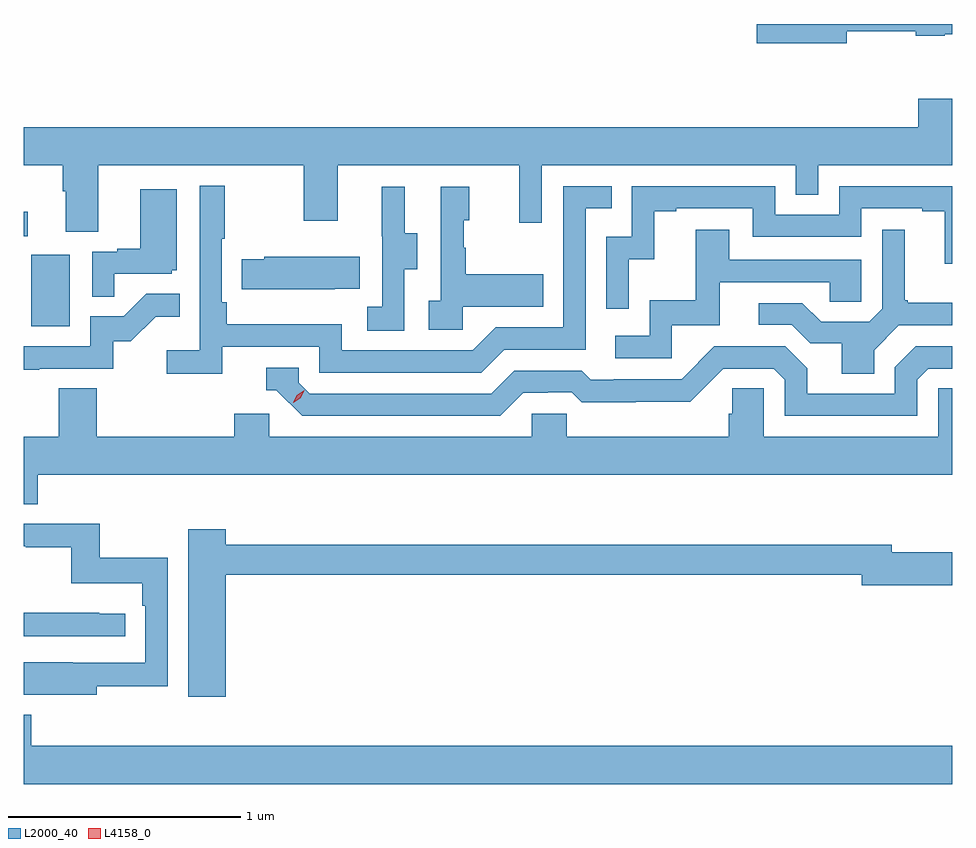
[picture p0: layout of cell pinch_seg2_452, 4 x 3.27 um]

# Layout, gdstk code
import gdstk
lib = gdstk.Library(unit=1e-6, precision=1e-09)
def R(c, l, rs):  # rectangles x0, y0, x1, y1
    for r in rs: c.add(gdstk.rectangle(r[:2], r[2:], *l))
def P(c, l, *ps):  # polygons
    for p in ps: c.add(gdstk.Polygon(p, *l))
L2000_40 = (2000, 40)
L4158_0 = (4158, 0)

pinch_seg2_452 = lib.new_cell('pinch_seg2_452')
R(pinch_seg2_452, L2000_40, [(912.794,589.668,912.958,589.975), (912.76,590.055,912.778,590.161)])
P(pinch_seg2_452, L2000_40, [(916.306,590.937),(916.603,590.937),(916.603,590.918),(916.728,590.918),(916.728,590.924),(916.76,590.924),(916.76,590.969),(915.918,590.969),(915.918,590.887),(916.306,590.887)],
  [(913.081,590.36),(913.966,590.36),(913.966,590.121),(914.113,590.121),(914.113,590.36),(914.894,590.36),(914.894,590.112),(914.991,590.112),(914.991,590.36),(916.086,590.36),(916.086,590.233),(916.182,590.233),(916.182,590.36),(916.76,590.36),(916.76,590.648),(916.613,590.648),(916.613,590.524),(912.76,590.524),(912.76,590.36),(912.929,590.36),(912.929,590.248),(912.941,590.248),(912.941,590.074),(913.081,590.074)],
  [(913.616,589.578),(914.034,589.578),(914.034,589.467),(914.731,589.467),(914.83,589.566),(915.18,589.566),(915.18,590.175),(915.293,590.175),(915.293,590.271),(915.084,590.271),(915.084,589.662),(914.793,589.662),(914.694,589.563),(914.13,589.563),(914.13,589.675),(913.634,589.675),(913.634,589.771),(913.614,589.771),(913.614,590.044),(913.627,590.044),(913.627,590.272),(913.518,590.272),(913.518,589.564),(913.377,589.564),(913.377,589.462),(913.616,589.462)],
  [(915.366,589.955),(915.476,589.955),(915.476,590.163),(915.571,590.163),(915.571,590.175),(915.9,590.175),(915.9,590.052),(916.368,590.052),(916.368,590.175),(916.631,590.175),(916.631,590.163),(916.727,590.163),(916.727,589.937),(916.76,589.937),(916.76,590.271),(916.272,590.271),(916.272,590.148),(915.996,590.148),(915.996,590.271),(915.378,590.271),(915.378,590.052),(915.27,590.052),(915.27,589.743),(915.366,589.743)],
  [(914.4,589.912),(914.455,589.912),(914.455,590.067),(914.401,590.067),(914.401,590.269),(914.303,590.269),(914.303,590.055),(914.304,590.055),(914.304,589.751),(914.241,589.751),(914.241,589.648),(914.4,589.648)],
  [(914.652,589.751),(914.999,589.751),(914.999,589.891),(914.665,589.891),(914.665,590.006),(914.655,590.006),(914.655,590.124),(914.68,590.124),(914.68,590.269),(914.556,590.269),(914.556,589.778),(914.505,589.778),(914.505,589.653),(914.652,589.653)],
  [(913.151,589.893),(913.398,589.893),(913.398,589.908),(913.42,589.908),(913.42,590.257),(913.262,590.257),(913.262,590.002),(913.163,590.002),(913.163,589.989),(913.056,589.989),(913.056,589.795),(913.151,589.795)],
  [(916.423,589.564),(916.53,589.671),(916.76,589.671),(916.76,589.768),(916.567,589.768),(916.567,589.78),(916.555,589.78),(916.555,590.083),(916.458,590.083),(916.458,589.743),(916.401,589.686),(916.195,589.686),(916.114,589.767),(915.927,589.767),(915.927,589.674),(916.068,589.674),(916.148,589.594),(916.283,589.594),(916.283,589.462),(916.423,589.462)],
  [(915.552,589.671),(915.757,589.671),(915.757,589.857),(916.231,589.857),(916.231,589.773),(916.368,589.773),(916.368,589.953),(915.799,589.953),(915.799,590.083),(915.655,590.083),(915.655,589.78),(915.456,589.78),(915.456,589.626),(915.309,589.626),(915.309,589.53),(915.552,589.53)],
  [(914.099,589.829),(914.207,589.829),(914.207,589.966),(913.797,589.966),(913.797,589.956),(913.699,589.956),(913.699,589.826),(914.099,589.826)],
  [(912.827,589.485),(913.146,589.485),(913.146,589.602),(913.222,589.602),(913.329,589.709),(913.433,589.709),(913.433,589.808),(913.289,589.808),(913.191,589.71),(913.047,589.71),(913.047,589.581),(912.76,589.581),(912.76,589.48),(912.827,589.48)],
  [(914.911,589.38),(915.018,589.38),(915.018,589.383),(915.121,589.383),(915.163,589.341),(915.396,589.341),(915.396,589.343),(915.632,589.343),(915.774,589.485),(915.99,589.485),(916.038,589.437),(916.038,589.281),(916.608,589.281),(916.608,589.437),(916.656,589.485),(916.76,589.485),(916.76,589.581),(916.602,589.581),(916.512,589.491),(916.512,589.377),(916.135,589.377),(916.135,589.487),(916.041,589.581),(915.735,589.581),(915.594,589.44),(915.301,589.44),(915.301,589.437),(915.202,589.437),(915.163,589.476),(914.874,589.476),(914.775,589.377),(913.992,589.377),(913.944,589.425),(913.944,589.488),(913.805,589.488),(913.805,589.392),(913.848,589.392),(913.959,589.281),(914.812,589.281)],
  [(912.821,589.028),(916.76,589.028),(916.76,589.4),(916.698,589.4),(916.698,589.192),(915.948,589.192),(915.948,589.4),(915.811,589.4),(915.811,589.29),(915.797,589.29),(915.797,589.192),(915.099,589.192),(915.099,589.29),(914.949,589.29),(914.949,589.192),(913.818,589.192),(913.818,589.29),(913.667,589.29),(913.667,589.192),(913.076,589.192),(913.076,589.4),(912.911,589.4),(912.911,589.192),(912.76,589.192),(912.76,588.901),(912.821,588.901)],
  [(913.075,588.118),(913.38,588.118),(913.38,588.67),(913.087,588.67),(913.087,588.816),(912.76,588.816),(912.76,588.72),(912.769,588.72),(912.769,588.715),(912.966,588.715),(912.966,588.56),(913.271,588.56),(913.271,588.464),(913.284,588.464),(913.284,588.219),(912.971,588.219),(912.971,588.22),(912.76,588.22),(912.76,588.08),(913.075,588.08)],
  [(913.63,588.598),(916.37,588.598),(916.37,588.551),(916.759,588.551),(916.759,588.693),(916.498,588.693),(916.498,588.727),(913.63,588.727),(913.63,588.793),(913.469,588.793),(913.469,588.072),(913.63,588.072)],
  [(913.198,588.429),(913.085,588.429),(913.085,588.434),(912.76,588.434),(912.76,588.333),(913.198,588.333)],
  [(916.76,587.86),(912.794,587.86),(912.794,587.995),(912.76,587.995),(912.76,587.696),(916.76,587.696)])
P(pinch_seg2_452, L4158_0, [(913.921,589.338),(913.921,589.338),(913.937,589.371),(913.968,589.391),(913.968,589.391),(913.968,589.39),(913.952,589.358),(913.922,589.338)])

lib.write_gds('pinch_seg2_452.gds')
